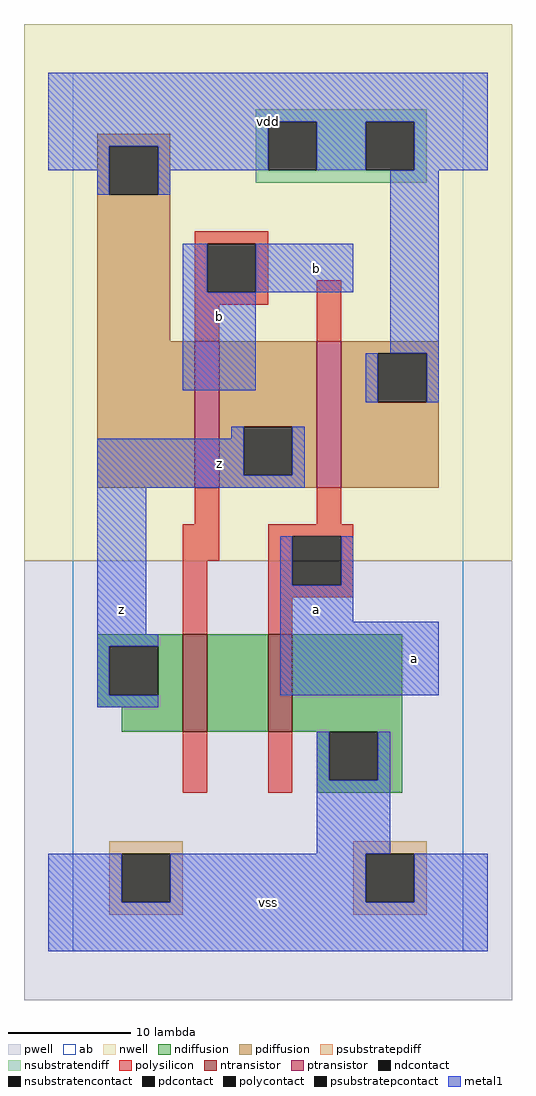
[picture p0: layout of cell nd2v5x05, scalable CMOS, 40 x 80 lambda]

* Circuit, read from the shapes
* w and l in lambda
.subckt nd2v5x05 a b vdd vss z
M1 n1 b z vss nfet w=8 l=2
M2 vss a n1 vss nfet w=8 l=2
M3 z b vdd vdd pfet w=12 l=2
M4 vdd a z vdd pfet w=12 l=2
.ends

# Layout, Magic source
magic
tech scmos
<< ab >>
rect 0 0 32 72
<< pwell >>
rect -4 -4 36 32
<< nwell >>
rect -4 32 36 76
<< polysilicon >>
rect 10 58 16 59
rect 10 54 11 58
rect 15 54 16 58
rect 10 53 16 54
rect 10 50 12 53
rect 20 50 22 55
rect 10 35 12 38
rect 20 35 22 38
rect 9 32 12 35
rect 16 34 23 35
rect 9 26 11 32
rect 16 30 18 34
rect 22 30 23 34
rect 16 29 23 30
rect 16 26 18 29
rect 9 13 11 18
rect 16 13 18 18
<< ndiffusion >>
rect 2 25 9 26
rect 2 21 3 25
rect 7 21 9 25
rect 2 20 9 21
rect 4 18 9 20
rect 11 18 16 26
rect 18 18 27 26
rect 20 14 21 18
rect 25 14 27 18
rect 20 13 27 14
<< pdiffusion >>
rect 2 66 8 67
rect 2 62 3 66
rect 7 62 8 66
rect 2 50 8 62
rect 2 38 10 50
rect 12 43 20 50
rect 12 39 14 43
rect 18 39 20 43
rect 12 38 20 39
rect 22 49 30 50
rect 22 45 25 49
rect 29 45 30 49
rect 22 38 30 45
<< metal1 >>
rect -2 68 34 72
rect -2 66 16 68
rect -2 64 3 66
rect 2 62 3 64
rect 7 64 16 66
rect 20 64 24 68
rect 28 64 34 68
rect 7 62 8 64
rect 9 54 11 58
rect 15 54 23 58
rect 9 46 15 54
rect 26 49 30 64
rect 24 45 25 49
rect 29 45 30 49
rect 13 42 14 43
rect 2 39 14 42
rect 18 39 19 43
rect 2 38 19 39
rect 2 26 6 38
rect 17 30 18 34
rect 22 30 23 34
rect 17 27 23 30
rect 2 25 7 26
rect 2 21 3 25
rect 17 21 30 27
rect 2 20 7 21
rect 20 14 21 18
rect 25 14 26 18
rect 20 8 26 14
rect -2 4 4 8
rect 8 4 24 8
rect 28 4 34 8
rect -2 0 34 4
<< ntransistor >>
rect 9 18 11 26
rect 16 18 18 26
<< ptransistor >>
rect 10 38 12 50
rect 20 38 22 50
<< polycontact >>
rect 11 54 15 58
rect 18 30 22 34
<< ndcontact >>
rect 3 21 7 25
rect 21 14 25 18
<< pdcontact >>
rect 3 62 7 66
rect 14 39 18 43
rect 25 45 29 49
<< psubstratepcontact >>
rect 4 4 8 8
rect 24 4 28 8
<< nsubstratencontact >>
rect 16 64 20 68
rect 24 64 28 68
<< psubstratepdiff >>
rect 3 8 9 9
rect 3 4 4 8
rect 8 4 9 8
rect 3 3 9 4
rect 23 8 29 9
rect 23 4 24 8
rect 28 4 29 8
rect 23 3 29 4
<< nsubstratendiff >>
rect 15 68 29 69
rect 15 64 16 68
rect 20 64 24 68
rect 28 64 29 68
rect 15 63 29 64
<< labels >>
rlabel metal1 4 28 4 28 6 z
rlabel metal1 12 40 12 40 6 z
rlabel metal1 12 52 12 52 6 b
rlabel metal1 16 4 16 4 6 vss
rlabel metal1 20 28 20 28 6 a
rlabel metal1 20 56 20 56 6 b
rlabel metal1 16 68 16 68 6 vdd
rlabel metal1 28 24 28 24 6 a
<< end >>
